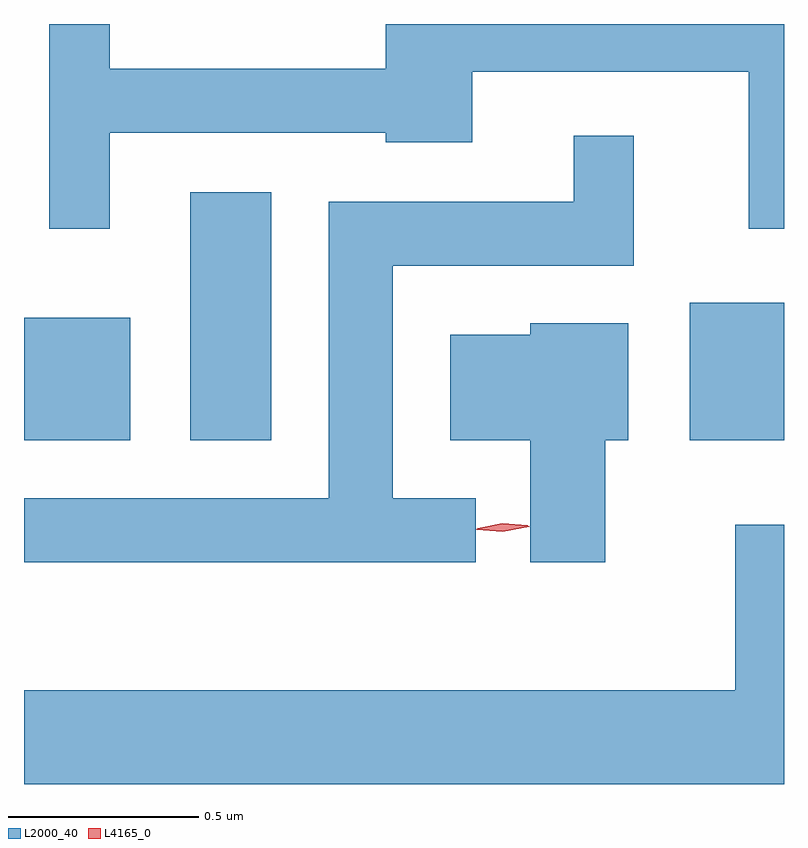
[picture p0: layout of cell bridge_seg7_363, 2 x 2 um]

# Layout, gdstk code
import gdstk
lib = gdstk.Library(unit=1e-6, precision=1e-09)
def R(c, l, rs):  # rectangles x0, y0, x1, y1
    for r in rs: c.add(gdstk.rectangle(r[:2], r[2:], *l))
def P(c, l, *ps):  # polygons
    for p in ps: c.add(gdstk.Polygon(p, *l))
L2000_40 = (2000, 40)
L4165_0 = (4165, 0)

bridge_seg7_363 = lib.new_cell('bridge_seg7_363')
R(bridge_seg7_363, L2000_40, [(1224.949,1775.181,1225.229,1775.504), (1225.386,1775.181,1225.599,1775.834), (1226.701,1775.181,1226.949,1775.544)])
P(bridge_seg7_363, L2000_40, [(1225.174,1775.991),(1225.901,1775.991),(1225.901,1775.966),(1226.129,1775.966),(1226.129,1776.151),(1226.856,1776.151),(1226.856,1775.738),(1226.949,1775.738),(1226.949,1776.277),(1225.901,1776.277),(1225.901,1776.159),(1225.174,1776.159),(1225.174,1776.277),(1225.016,1776.277),(1225.016,1775.738),(1225.174,1775.738)],
  [(1226.138,1775.029),(1225.919,1775.029),(1225.919,1775.641),(1226.554,1775.641),(1226.554,1775.983),(1226.396,1775.983),(1226.396,1775.809),(1225.751,1775.809),(1225.751,1775.029),(1224.949,1775.029),(1224.949,1774.861),(1226.138,1774.861)],
  [(1226.479,1775.181),(1226.539,1775.181),(1226.539,1775.489),(1226.281,1775.489),(1226.281,1775.459),(1226.071,1775.459),(1226.071,1775.181),(1226.281,1775.181),(1226.281,1774.861),(1226.479,1774.861)],
  [(1226.949,1774.959),(1226.821,1774.959),(1226.821,1774.524),(1224.949,1774.524),(1224.949,1774.277),(1226.949,1774.277)])
P(bridge_seg7_363, L4165_0, [(1226.209,1774.941),(1226.14,1774.946),(1226.139,1774.947),(1226.14,1774.947),(1226.208,1774.961),(1226.278,1774.955),(1226.278,1774.955),(1226.278,1774.954)],
  [(1226.209,1774.944),(1226.143,1774.949),(1226.142,1774.95),(1226.143,1774.95),(1226.208,1774.963),(1226.275,1774.958),(1226.275,1774.957),(1226.275,1774.957)])

lib.write_gds('bridge_seg7_363.gds')
